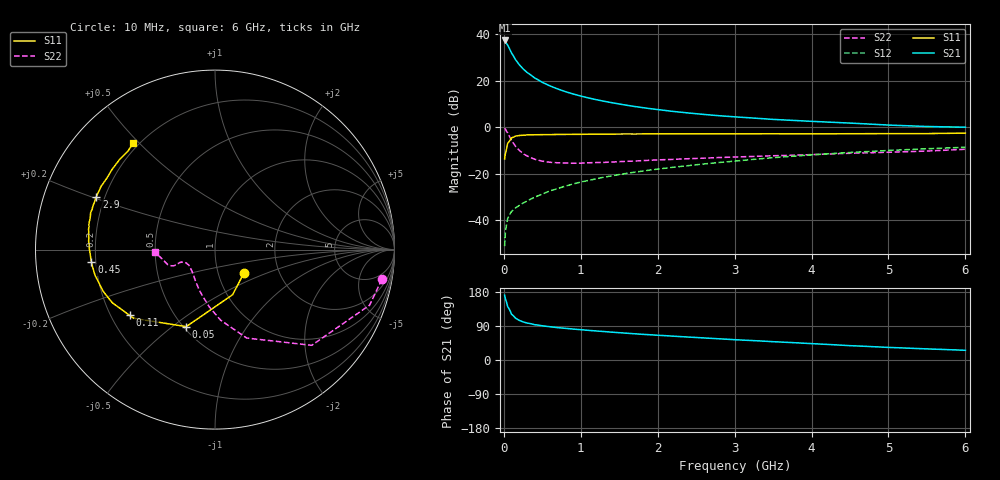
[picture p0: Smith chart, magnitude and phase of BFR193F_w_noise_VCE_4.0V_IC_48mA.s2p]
! Infineon Technologies  Discrete & RF Semiconductors
! BFR193F
! VCE =  4.0 V,  IC =  48 mA
! Common Emitter S-Parameters:  Jan 2017
# GHz  S  MA  R  50
!  f  S11  S21  S12  S22
! GHz  MAG  ANG  MAG  ANG  MAG  ANG  MAG  ANG
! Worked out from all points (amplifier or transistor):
!   77 points, 10 MHz to 6 GHz, reference 50 ohm
!   highest |S21| = 37.3 dB at 10 MHz (marker M1)
!   |S21| within 3 dB of that: start of sweep to 65.1 MHz
!   unconditionally stable (mu >= 1): 837.3 MHz to 2.61 GHz
!   at 130 MHz: K = 0.49, MSG = 32.8 dB, |S12| = -35.2 dB
!   at 2.2 GHz: K = 1.01, MAG = 11.3 dB, |S12| = -17.2 dB
!   at 6 GHz: K = 0.87, MSG = 4.3 dB, |S12| = -8.6 dB
!   lowest NFmin = 1.45 dB at 450 MHz
!   S11 on the Smith chart (normalised r, x): 10 MHz: 1.32, -0.37; 50 MHz: 0.52, -0.56; 110 MHz: 0.28, -0.32; 450 MHz: 0.18, -0.05; 2.9 GHz: 0.17, +0.21; 6 GHz: 0.18, +0.48
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0.01  0.208 -39.8  73.09 171.0  0.0028 82.7  0.9447 -10.1
0.02  0.2698 -68.6  70.2 161.9  0.0054 74.7  0.9151 -19.8
0.05  0.458 -110.5  57.92 140.8  0.011 59.8  0.7582 -44.7
0.1  0.5926 -139.7  39.4 120.6  0.0155 51.6  0.5233 -70.3
0.11  0.6004 -142.4  37.16 119.1  0.0161 51.8  0.4952 -72.7
0.15  0.6442 -152.6  28.56 110.7  0.0185 52.4  0.3942 -85.5
0.2  0.6654 -159.7  22.14 104.6  0.0209 54.0  0.3213 -95.6
0.25  0.675 -164.8  17.96 100.6  0.0236 55.6  0.2711 -104.2
0.3  0.6838 -168.0  15.13 97.7  0.0259 58.4  0.243 -111.0
0.4  0.6903 -172.7  11.46 93.2  0.0315 62.7  0.2062 -121.7
0.45  0.6917 -174.3  10.34 91.9  0.0341 64.9  0.1962 -125.5
0.6  0.696 -178.2  7.735 87.7  0.0432 68.0  0.1772 -135.7
0.7  0.701 179.4  6.646 85.4  0.0482 69.4  0.1728 -140.4
0.9  0.7056 176.2  5.192 81.7  0.0604 71.7  0.1694 -147.6
1.1  0.7092 173.4  4.263 78.2  0.0724 72.5  0.1729 -151.8
1.5  0.7164 168.7  3.158 72.1  0.0966 73.2  0.1829 -157.2
2.1  0.7217 162.7  2.293 64.2  0.1323 72.9  0.202 -159.6
2.9  0.7237 156.0  1.721 54.8  0.1814 71.4  0.2267 -159.0
3.1  0.724 154.3  1.634 52.6  0.1943 70.8  0.2325 -158.6
4.1  0.7227 145.5  1.318 42.2  0.2618 66.5  0.2621 -160.1
5.1  0.7308 135.8  1.099 32.5  0.3231 60.7  0.2944 -168.7
6  0.7494 127.3  1.004 25.6  0.3724 55.3  0.3368 -177.5
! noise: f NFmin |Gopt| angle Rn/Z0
0.45  1.45  0.46  -180  0.07
0.9  1.54  0.47  -179  0.07
1.9  2.11  0.6  -164  0.09
2.4  2.42  0.62  -156  0.14
